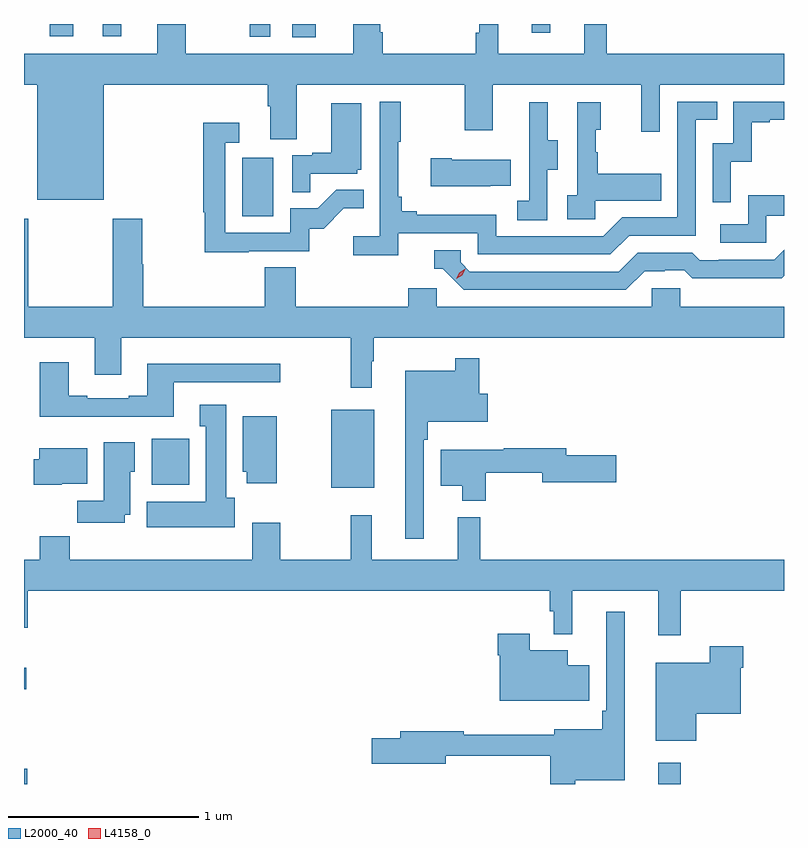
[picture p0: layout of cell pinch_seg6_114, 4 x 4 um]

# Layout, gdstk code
import gdstk
lib = gdstk.Library(unit=1e-6, precision=1e-09)
def R(c, l, rs):  # rectangles x0, y0, x1, y1
    for r in rs: c.add(gdstk.rectangle(r[:2], r[2:], *l))
def P(c, l, *ps):  # polygons
    for p in ps: c.add(gdstk.Polygon(p, *l))
L2000_40 = (2000, 40)
L4158_0 = (4158, 0)

pinch_seg6_114 = lib.new_cell('pinch_seg6_114')
R(pinch_seg6_114, L2000_40, [(984.239,927.672,984.256,927.753), (987.578,927.672,987.695,927.784), (984.239,928.172,984.251,928.285), (985.856,929.231,986.083,929.641), (984.911,929.246,985.108,929.488), (985.388,930.66,985.552,930.967), (985.652,931.601,985.774,931.672), (985.428,931.605,985.536,931.672), (984.374,931.608,984.498,931.672), (984.653,931.608,984.752,931.672), (986.912,931.626,987.009,931.672)])
P(pinch_seg6_114, L2000_40, [(984.658,931.352),(985.523,931.352),(985.523,931.24),(985.535,931.24),(985.535,931.066),(985.675,931.066),(985.675,931.352),(986.56,931.352),(986.56,931.113),(986.707,931.113),(986.707,931.352),(987.488,931.352),(987.488,931.104),(987.585,931.104),(987.585,931.352),(988.239,931.352),(988.239,931.516),(987.305,931.516),(987.305,931.672),(987.188,931.672),(987.188,931.516),(986.735,931.516),(986.735,931.672),(986.636,931.672),(986.636,931.625),(986.617,931.625),(986.617,931.516),(986.126,931.516),(986.126,931.628),(986.113,931.628),(986.113,931.672),(985.973,931.672),(985.973,931.516),(985.089,931.516),(985.089,931.672),(984.941,931.672),(984.941,931.516),(984.239,931.516),(984.239,931.352),(984.308,931.352),(984.308,930.746),(984.658,930.746)],
  [(986.21,930.57),(986.628,930.57),(986.628,930.459),(987.325,930.459),(987.424,930.558),(987.774,930.558),(987.774,931.167),(987.887,931.167),(987.887,931.263),(987.678,931.263),(987.678,930.654),(987.387,930.654),(987.288,930.555),(986.724,930.555),(986.724,930.667),(986.305,930.667),(986.305,930.686),(986.228,930.686),(986.228,930.763),(986.209,930.763),(986.209,931.051),(986.221,931.051),(986.221,931.264),(986.112,931.264),(986.112,930.556),(985.971,930.556),(985.971,930.454),(986.21,930.454)],
  [(987.96,930.947),(988.07,930.947),(988.07,931.155),(988.165,931.155),(988.165,931.167),(988.239,931.167),(988.239,931.263),(987.972,931.263),(987.972,931.044),(987.864,931.044),(987.864,930.735),(987.96,930.735)],
  [(987.246,930.743),(987.593,930.743),(987.593,930.883),(987.259,930.883),(987.259,930.998),(987.249,930.998),(987.249,931.116),(987.274,931.116),(987.274,931.261),(987.15,931.261),(987.15,930.77),(987.099,930.77),(987.099,930.645),(987.246,930.645)],
  [(986.994,930.904),(987.049,930.904),(987.049,931.059),(986.995,931.059),(986.995,931.261),(986.897,931.261),(986.897,931.047),(986.898,931.047),(986.898,930.743),(986.835,930.743),(986.835,930.64),(986.994,930.64)],
  [(985.745,930.885),(985.992,930.885),(985.992,930.906),(986.014,930.906),(986.014,931.255),(985.856,931.255),(985.856,930.994),(985.757,930.994),(985.757,930.981),(985.65,930.981),(985.65,930.787),(985.745,930.787)],
  [(985.421,930.477),(985.74,930.477),(985.74,930.594),(985.816,930.594),(985.923,930.701),(986.027,930.701),(986.027,930.8),(985.883,930.8),(985.785,930.702),(985.641,930.702),(985.641,930.573),(985.299,930.573),(985.299,931.047),(985.372,931.047),(985.372,931.153),(985.183,931.153),(985.183,930.68),(985.191,930.68),(985.191,930.472),(985.421,930.472)],
  [(986.693,930.821),(986.801,930.821),(986.801,930.958),(986.491,930.958),(986.491,930.966),(986.379,930.966),(986.379,930.818),(986.693,930.818)],
  [(988.146,930.663),(988.239,930.663),(988.239,930.772),(988.05,930.772),(988.05,930.618),(987.903,930.618),(987.903,930.522),(988.146,930.522)],
  [(985.67,930.392),(985.505,930.392),(985.505,930.184),(984.866,930.184),(984.866,930.407),(984.861,930.407),(984.861,930.646),(984.706,930.646),(984.706,930.184),(984.261,930.184),(984.261,930.646),(984.239,930.646),(984.239,930.02),(984.611,930.02),(984.611,929.826),(984.751,929.826),(984.751,930.02),(985.959,930.02),(985.959,929.757),(986.068,929.757),(986.068,929.897),(986.08,929.897),(986.08,930.02),(988.239,930.02),(988.239,930.184),(987.693,930.184),(987.693,930.282),(987.543,930.282),(987.543,930.184),(986.412,930.184),(986.412,930.282),(986.261,930.282),(986.261,930.184),(985.67,930.184)],
  [(987.505,930.372),(987.612,930.372),(987.612,930.375),(987.715,930.375),(987.757,930.333),(987.99,930.333),(987.99,930.335),(988.226,930.335),(988.239,930.348),(988.239,930.483),(988.188,930.432),(987.895,930.432),(987.895,930.429),(987.796,930.429),(987.757,930.468),(987.468,930.468),(987.369,930.369),(986.586,930.369),(986.538,930.417),(986.538,930.48),(986.399,930.48),(986.399,930.384),(986.442,930.384),(986.553,930.273),(987.406,930.273)],
  [(986.343,929.483),(986.363,929.483),(986.363,929.579),(986.68,929.579),(986.68,929.727),(986.636,929.727),(986.636,929.914),(986.508,929.914),(986.508,929.848),(986.246,929.848),(986.246,928.962),(986.343,928.962)],
  [(985.027,929.787),(985.588,929.787),(985.588,929.884),(984.887,929.884),(984.887,929.716),(984.791,929.716),(984.791,929.703),(984.571,929.703),(984.571,929.716),(984.475,929.716),(984.475,929.893),(984.323,929.893),(984.323,929.606),(985.027,929.606)],
  [(985.348,929.178),(985.303,929.178),(985.303,929.668),(985.163,929.668),(985.163,929.555),(985.196,929.555),(985.196,929.158),(984.884,929.158),(984.884,929.024),(985.348,929.024)],
  [(985.57,929.608),(985.391,929.608),(985.391,929.316),(985.412,929.316),(985.412,929.256),(985.57,929.256)],
  [(984.769,929.09),(984.799,929.09),(984.799,929.316),(984.823,929.316),(984.823,929.47),(984.659,929.47),(984.659,929.164),(984.52,929.164),(984.52,929.046),(984.769,929.046)],
  [(984.438,929.252),(984.571,929.252),(984.571,929.44),(984.32,929.44),(984.32,929.382),(984.29,929.382),(984.29,929.246),(984.438,929.246)],
  [(986.668,929.31),(986.966,929.31),(986.966,929.26),(987.355,929.26),(987.355,929.402),(987.094,929.402),(987.094,929.438),(986.764,929.438),(986.764,929.431),(986.432,929.431),(986.432,929.243),(986.546,929.243),(986.546,929.162),(986.668,929.162)],
  [(987.695,928.688),(988.239,928.688),(988.239,928.852),(986.639,928.852),(986.639,929.077),(986.522,929.077),(986.522,928.852),(986.069,928.852),(986.069,929.086),(985.959,929.086),(985.959,928.852),(985.587,928.852),(985.587,929.047),(985.439,929.047),(985.439,928.852),(984.479,928.852),(984.479,928.976),(984.323,928.976),(984.323,928.852),(984.239,928.852),(984.239,928.494),(984.26,928.494),(984.26,928.688),(987.007,928.688),(987.007,928.581),(987.027,928.581),(987.027,928.46),(987.125,928.46),(987.125,928.688),(987.578,928.688),(987.578,928.455),(987.695,928.455)],
  [(987.139,927.692),(987.4,927.692),(987.4,928.579),(987.303,928.579),(987.303,928.057),(987.283,928.057),(987.283,927.961),(987.029,927.961),(987.029,927.931),(986.554,927.931),(986.554,927.95),(986.219,927.95),(986.219,927.914),(986.07,927.914),(986.07,927.779),(986.458,927.779),(986.458,927.822),(987.01,927.822),(987.01,927.672),(987.139,927.672)],
  [(987.214,928.297),(987.1,928.297),(987.1,928.375),(986.902,928.375),(986.902,928.462),(986.732,928.462),(986.732,928.349),(986.744,928.349),(986.744,928.109),(987.214,928.109)],
  [(987.778,928.043),(988.012,928.043),(988.012,928.283),(988.025,928.283),(988.025,928.396),(987.847,928.396),(987.847,928.309),(987.563,928.309),(987.563,927.899),(987.778,927.899)])
P(pinch_seg6_114, L4158_0, [(986.515,930.33),(986.515,930.33),(986.531,930.363),(986.561,930.384),(986.561,930.384),(986.561,930.384),(986.546,930.35),(986.515,930.33)])

lib.write_gds('pinch_seg6_114.gds')
